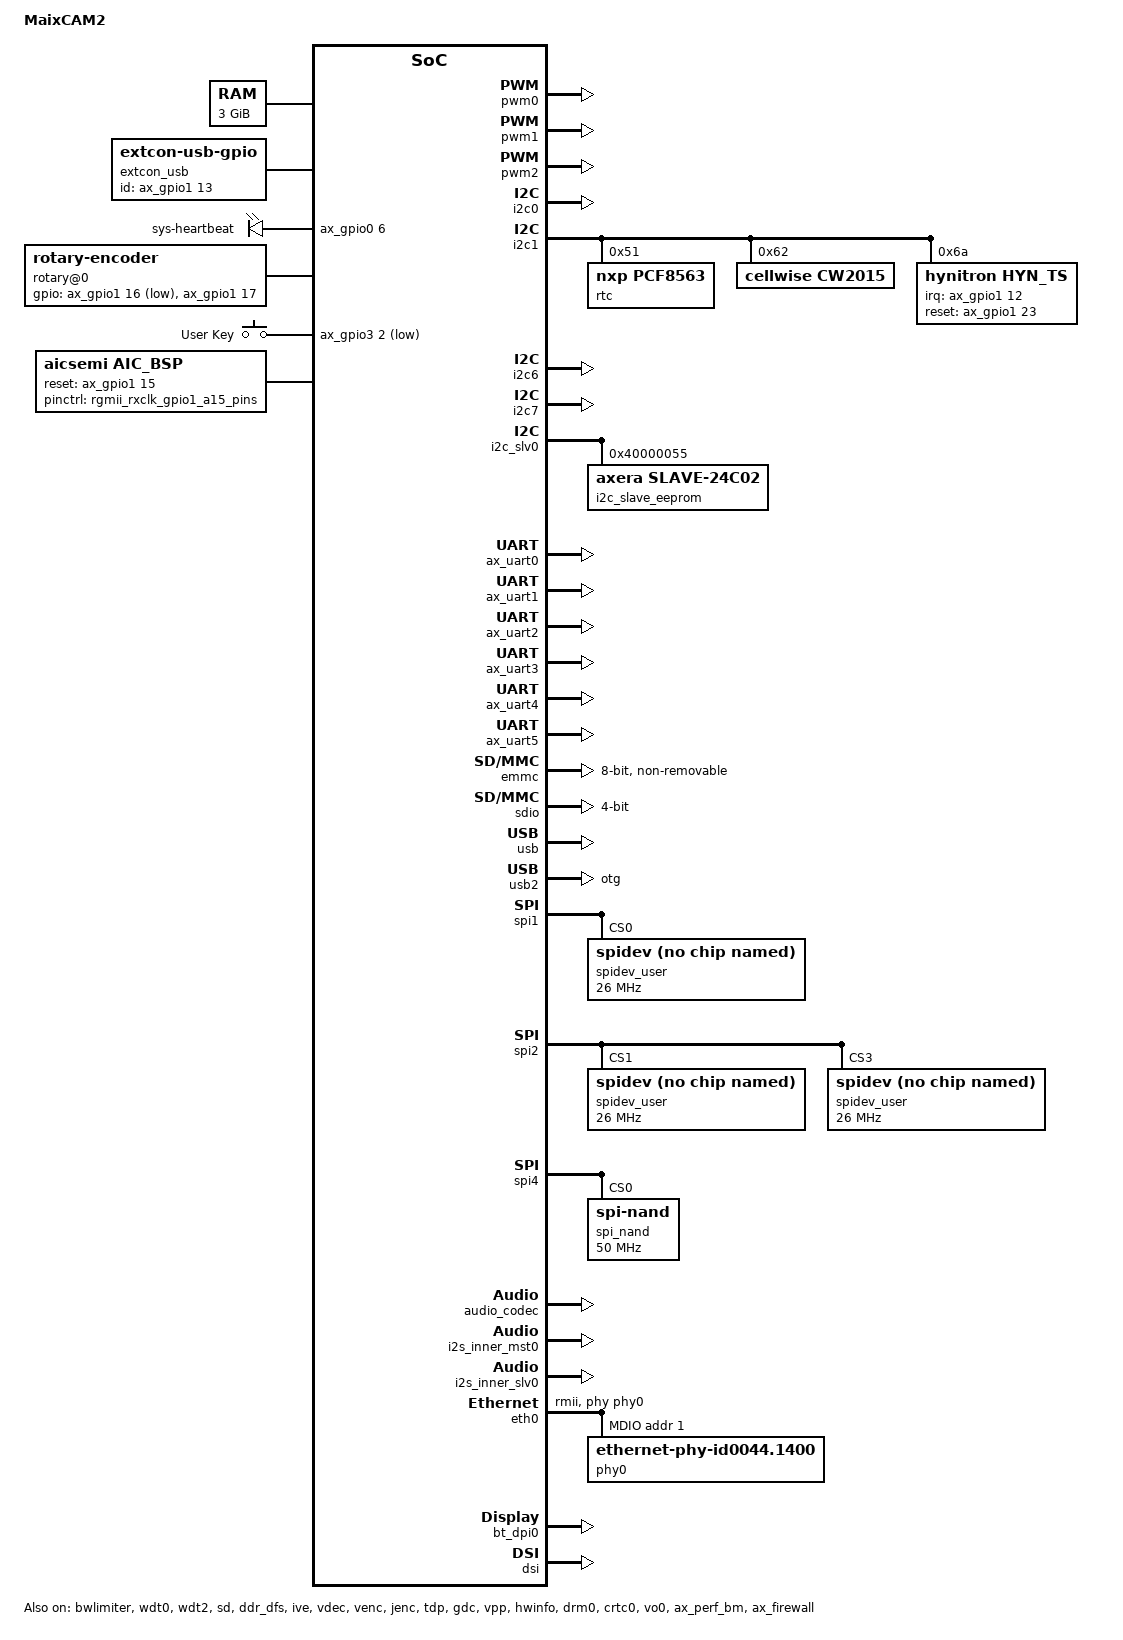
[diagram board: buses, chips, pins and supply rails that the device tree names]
// SPDX-License-Identifier: GPL-2.0
/**************************************************************************************************
 *
 * Copyright (c) 2019-2024 Axera Semiconductor Co., Ltd. All Rights Reserved.
 *
 * This dts file is the property of Axera Semiconductor Co., Ltd. and
 * may not be copied or distributed in any isomorphic form without the prior
 * written consent of Axera Semiconductor Co., Ltd.
 *
 **************************************************************************************************/

/dts-v1/;
#include "AX620E.dtsi"
/ {
	model = "MaixCAM2";
	memory@40000000 {
		device_type = "memory";
		reg = <0x0 0x40000000 0x0 0xC0000000>;
	};
	reserved-memory {
		#address-cells = <2>;
		#size-cells = <2>;
		ranges;
		ramoops_mem@48000000 {
			compatible = "ramoops";
			reg = <0x0 0x48000000 0x0 0xf0000>;
			record-size = <0x40000>;
			console-size = <0x80000>;
			ftrace-size = <0x20000>;
		};
		axera_memory_dump@0 {
			compatible = "axera_memory_dump";
			reg = <0x0 0x480f0000 0x0 0x3000>;
			dump_ranges = <0x0 0x40001000 0x1 0x00000000>;
			no-map;
		};
		atf_reserved: atf_memreserved {
			reg = <ATF_RESERVED_START_HI ATF_RESERVED_START_LO ATF_RESERVED_SIZE_HI ATF_RESERVED_SIZE_LO>;
			no-map;
		};
#ifdef OPTEE_BOOT
		optee_reserved: optee_memserved {
			reg = <OPTEE_RESERVED_START_HI OPTEE_RESERVED_START_LO OPTEE_RESERVED_SIZE_HI OPTEE_RESERVED_SIZE_LO>;
			no-map;
		};
#endif
		axera_ddr_retrain@0 {
			compatible = "axera_ddr_retrain";
			reg = <0x0 0x40000000 0x0 0x1000>;
		};
	};

	chosen {
		bootargs = BOOTARGS;
	};

	dummy_codec: dummy-codec {
		compatible = "dummy-codec";
		#sound-dai-cells = <0>;
	};

	sound {
		status = "okay";
		compatible = "simple-audio-card";
		simple-audio-card,name = "Axera Audio";
		simple-audio-card,widgets =
			"Microphone", "Mic Jack";
		simple-audio-card,routing =
			"AMIC", "Mic Jack";
		#address-cells = <1>;
		#size-cells = <0>;
	/*	simple-audio-card,dai-link@0 {
			format = "i2s";
			cpu {
				sound-dai = <&i2s_mst0>;
			};
			codec {
				sound-dai = <&es7243l>;
				system-clock-frequency = <12288000>;
			};
		};
		simple-audio-card,dai-link@1 {
			format = "i2s";
			cpu {
				sound-dai = <&i2s_mst0>;
			};
			codec {
				sound-dai = <&es8156>;
				system-clock-frequency = <12288000>;
			};
		};
		simple-audio-card,dai-link@0 {
			format = "i2s";
			bitclock-master = <&codec_m2>;
			frame-master = <&codec_m2>;
			cpu {
				sound-dai = <&i2s_slv0>;
			};
			codec_m2: codec {
				sound-dai = <&es7243l>;
				system-clock-frequency = <12288000>;
			};
		};
		simple-audio-card,dai-link@1 {
			format = "i2s";
			bitclock-master = <&codec_m3>;
			frame-master = <&codec_m3>;
			cpu {
				sound-dai = <&i2s_slv0>;
			};
			codec_m3: codec {
				sound-dai = <&es8156>;
				system-clock-frequency = <12288000>;
			};
		};
		simple-audio-card,dai-link@0 {
			format = "dsp_b";
			cpu {
				sound-dai = <&i2s_tdm_mst0>;
				dai-tdm-slot-num = <2>;
				dai-tdm-slot-width = <32>;
				dai-tdm-slot-rx-mask = <1 1>;
			};
			codec {
				sound-dai = <&es7243l>;
				system-clock-frequency = <12288000>;
			};
		};
		simple-audio-card,dai-link@0 {
			format = "dsp_b";
			bitclock-master = <&codec_m5>;
			frame-master = <&codec_m5>;
			cpu {
				sound-dai = <&i2s_tdm_slv0>;
				dai-tdm-slot-num = <2>;
				dai-tdm-slot-width = <32>;
				dai-tdm-slot-rx-mask = <1 1>;
			};
			codec_m5: codec {
				sound-dai = <&es7243l>;
				system-clock-frequency = <12288000>;
			};
		};*/
		simple-audio-card,dai-link@0 {
			format = "i2s";
			bitclock-master = <&codec_m6>;
			frame-master = <&codec_m6>;
			capture-only;
			cpu {
				sound-dai = <&i2s_inner_slv0>;
			};
			codec_m6: codec {
				sound-dai = <&audio_codec>;
				system-clock-frequency = <12288000>;
			};
		};
		simple-audio-card,dai-link@1 {
			format = "i2s";
			playback-only;
			cpu {
				sound-dai = <&i2s_inner_mst0>;
			};
			codec {
				sound-dai = <&audio_codec>;
				system-clock-frequency = <12288000>;
			};
		};
	};

	vfb0: vfb@0 {
		compatible = "axera,vfb";
		id = <0>;
		width = <480>;
		height = <640>;
		bpp = <32>;
		buf-num = <2>;
		status = "okay";
	};

	vfb1: vfb@1 {
		compatible = "axera,vfb";
		id = <1>;
		width = <1920>;
		height = <1080>;
		bpp = <32>;
		buf-num = <2>;
		status = "disable";
	};

	vfb2: vfb@2 {
		compatible = "axera,vfb";
		id = <2>;
		width = <64>;
		height = <64>;
		bpp = <32>;
		buf-num = <1>;
		cursor;
		status = "okay";
	};

	axera_logctl {
		compatible = "axera,logctl";
		config = "/etc/ax_syslog.conf";
		logstate = /bits/ 8 <1 1>;
		loglevel = /bits/ 8 <4 4>;
	};

	extcon_usb: extcon_usb {
		compatible = "linux,extcon-usb-gpio";
		id-gpio = <&ax_gpio1 13 0>; /* GPIO1_A13 */
		status = "okay";
	};
	leds {
		status = "okay";
		compatible = "gpio-leds";
		pinctrl-names = "default";
		pinctrl-0 = <&vi_d6_gpio0_a6_pins>;
        led-heartbeat {
            label = "sys-heartbeat";
            gpios = <&ax_gpio0 6 0>;
            linux,default-trigger = "activity";
            default-state = "activity";
			status = "okay";
        };
	};

	rotary@0 {
		status = "okay";
		compatible = "rotary-encoder";
		pinctrl-names = "default";
		pinctrl-0 = <&rgmii_rxd2_gpio1_a16_pins>,
					<&rgmii_rxd3_gpio1_a17_pins>;
		gpios = <&ax_gpio1 16 1>, <&ax_gpio1 17 0>;
		linux,axis = <0>; /* REL_X */
		rotary-encoder,encoding = "gray";
		rotary-encoder,relative-axis;
		rotary-encoder,steps-per-period = <4>;
	};

	gpio_keys {
		compatible = "gpio-keys";
		pinctrl-names = "default";
		pinctrl-0 = <&gpio3_a2_pins>;
		// autorepeat;
		wakeup-source;
		status = "okay";

		key-user {
			label = "User Key";
			linux,code = <0x1af>;
			debounce-interval = <10>;
			gpios = <&ax_gpio3 2 1>;
		};
	};
	aic_bsp {
		compatible = "aicsemi,aic_bsp";
		reset-gpio = <&ax_gpio1 15 0>; // GPIO1_A15
		pinctrl-names = "default";
		pinctrl-gpios = <&rgmii_rxclk_gpio1_a15_pins>;
		status = "okay";
	};
};

&pwm0 {
	status = "okay";
};

&pwm1 {
	status = "okay";
};

&pwm2 {
	status = "okay";
};

&deb_gpio_lp {
	lp-status = <11 1>; /* use db_gpio11 as wakeup source */
	status = "okay";
};

&bwlimiter {
	status = "okay";
};

&i2c0 {
	status = "okay";
};

&i2c1 {
	status = "okay";

	rtc: bm8563@51 {
		compatible = "nxp,pcf8563";  // BM8563 通常与 PCF8563 驱动兼容
		reg = <0x51>;               // I2C 地址（0x51）
		status = "okay";
	};

	cw2015@62 {
			compatible = "cellwise,cw2015";
			reg = <0x62>;
			cellwise,battery-profile = /bits/ 8 <
					0x15 0x39 0x5E 0x59 0x56 0x55 0x52 0x52
					0x51 0x54 0x51 0x47 0x3E 0x34 0x2B 0x26
					0x1E 0x16 0x13 0x1F 0x29 0x41 0x4F 0x4E
					0x71 0x9E 0x0A 0x3E 0x25 0x45 0x58 0x5F
					0x5A 0x62 0x68 0x6E 0x4A 0x1D 0x83 0x2E
					0x09 0x57 0x14 0x41 0x77 0x98 0xAC 0x3C
					0x4E 0x7B 0x99 0xAF 0x80 0xFF 0xFF 0xCB
					0x2F 0x00 0x64 0xA5 0xB5 0xC1 0x46 0xAE
					>;
			cellwise,monitor-interval-ms = <5000>;
			// monitored-battery = <&battery>;
			// power-supplies = <&charger>;
			status = "okay";
	};

	hynitron: hynitron@6a {
		compatible = "hynitron,hyn_ts", "hyn,7xx";
		reg = <0x6a>;
		irq-gpio = <&ax_gpio1 12 0>;
		reset-gpio = <&ax_gpio1 23 0>;
		max-touch-number = <5>;
		display-coords = <0 0 480 640>;
		pos-swap = <0>;
		posx-reverse = <1>;
		posy-reverse = <1>;
		status = "okay";
		wakeup-source;
	};

/*
	lsm6ds3@6b {
		compatible = "st,lsm6dsox";
		reg = <0x6b>;
		status = "okay";
	};
*/
};

&i2c6 {
	/delete-property/ pinctrl-names;
	/delete-property/ pinctrl-0;
	/delete-property/ pinctrl-1;
	/delete-property/ scl-gpio;
	/delete-property/ sda-gpio;
	status = "okay";
};

&i2c7 {
	status = "okay";
	/delete-property/ pinctrl-names;
	/delete-property/ pinctrl-0;
	/delete-property/ pinctrl-1;
	/delete-property/ scl-gpio;
	/delete-property/ sda-gpio;
	#address-cells = <0x1>;
	#size-cells = <0x0>;
};

&i2c_slv0 {
	status = "okay";
	#address-cells = <0x1>;
	#size-cells = <0x0>;
	i2c_slave_eeprom: i2c_slave_eeprom@55 {
		compatible = "axera,slave-24c02";
		reg = <0x40000055>;
		status = "okay";
	};
};

&ax_uart0 {
	status = "okay";
};

&ax_uart1 {
	status = "okay";
};

&ax_uart2 {
	status = "okay";
};

&ax_uart3 {
	status = "okay";
};

&ax_uart4 {
	status = "okay";
};

&ax_uart5 {
	pinctrl-names = "default";
	pinctrl-0 = <&emac_ptp_pps0_uart5_cts_pins>,
				<&emac_ptp_pps1_uart5_rts_pins>,
				<&emac_ptp_pps2_uart5_txd_pins>,
				<&emac_ptp_pps3_uart5_rxd_pins>;
	status = "okay";
};

&wdt0 {
	status = "okay";
};

&wdt2 {
	status = "okay";
};

&emmc{
	max-frequency = <200000000>;
	sdhci-caps-mask = <0x2 0x03200000>;
	bus-width = <8>;
	no-sdio;
	no-sd;
	non-removable;
	disable-wp;
	cap-mmc-hw-reset;
	/* AX630C use GPIO2_A23 */
	hw-reset = <&ax_gpio2 23 0>;
	/* AX620Q use GPIO1_A0 */
	/* hw-reset = <&ax_gpio1 0 0>; */
	cap-mmc-highspeed;
	mmc-hs200-1_8v;
	mmc-hs400-1_8v;
	mmc-hs400-enhanced-strobe;
	cdns,phy-input-delay-sd-highspeed = <2>;
	cdns,phy-input-delay-legacy = <4>;
	cdns,phy-input-delay-sd-uhs-sdr12 = <1>;
	cdns,phy-input-delay-sd-uhs-sdr25 = <2>;
	cdns,phy-input-delay-sd-uhs-sdr50 = <1>;
	cdns,phy-input-delay-sd-uhs-ddr50 = <2>;
	cdns,phy-input-delay-mmc-legacy = <1>;
	cdns,phy-input-delay-mmc-highspeed = <2>;
	cdns,phy-input-delay-mmc-ddr = <2>;
	cdns,phy-dll-delay-sdclk = <45>;
	cdns,phy-dll-delay-sdclk-hsmmc = <31>;
	cdns,phy-dll-delay-strobe = <18>;
	fixed-emmc-driver-type = <4>;
	status = "okay";
};

&sd{
	sdhci-caps-mask = <0x7 0x00200000>;
	bus-width = <4>;
	max-frequency = <200000000>;
	cap-sd-highspeed;
	sd-uhs-sdr12;
	sd-uhs-sdr25;
	sd-uhs-sdr50;
	sd-uhs-ddr50;
	sd-uhs-sdr104;
	no-sdio;
	no-mmc;
	disable-wp;
#if 1
	broken-cd;
#else
	cd-gpios = <&ax_gpio1 11 0>;
	cd-inverted;
	cd-debounce-delay-ms = <300>;
#endif

	cdns,phy-input-delay-sd-highspeed = <2>;
	cdns,phy-input-delay-legacy = <3>;
	cdns,phy-input-delay-sd-uhs-sdr12 = <3>;
	cdns,phy-input-delay-sd-uhs-sdr25 = <2>;
	cdns,phy-input-delay-sd-uhs-sdr50 = <1>;
	cdns,phy-input-delay-sd-uhs-ddr50 = <1>;
	cdns,phy-dll-delay-sdclk = <0>;

	status = "okay";
};

&sdio{
	sdhci-caps-mask = <0x7 0x00200000>;
	bus-width = <4>;
	max-frequency = <200000000>;
	cap-sd-highspeed;
	sd-uhs-sdr25;
	sd-uhs-sdr12;
	sd-uhs-sdr50;
	sd-uhs-ddr50;
	//sd-uhs-sdr104;
	no-1-8-v;
	no-sd;
	no-mmc;
	disable-wp;
	broken-cd;
	cdns,phy-input-delay-sd-highspeed = <4>;
	cdns,phy-input-delay-legacy = <3>;
	cdns,phy-input-delay-sd-uhs-sdr12 = <3>;
	cdns,phy-input-delay-sd-uhs-sdr25 = <2>;
	cdns,phy-input-delay-sd-uhs-sdr50 = <1>;
	cdns,phy-input-delay-sd-uhs-ddr50 = <1>;
	cdns,phy-dll-delay-sdclk = <0>;

	status = "okay";
};

&usb {
	status = "okay";
};

&usb2 {
	dr_mode = "otg";
	extcon = <&extcon_usb>;
};

&spi0 {
       status = "disabled";
       spidev_user@0 {
               status = "okay";
               compatible = "axera,spidev";
               reg = <0>;
               spi-max-frequency = <26000000>;
       };
};

&spi1 {
       status = "okay";
	   /delete-property/ cs-gpios;
       spidev_user@0 {
               status = "okay";
               compatible = "axera,spidev";
               reg = <0>;
               spi-max-frequency = <26000000>;
       };
};

&spi2 {
       status = "okay";
	   /delete-property/ cs-gpios;
       spidev_user@1 {
               status = "okay";
               compatible = "axera,spidev";
               reg = <1>;
               spi-max-frequency = <26000000>;
       };
	   spidev_user@3 {
				status = "okay";
				compatible = "axera,spidev";
				reg = <3>;
				spi-max-frequency = <26000000>;
		};
};

&spi_slv {
       status = "disabled";
       stream-tx-gpio = <&ax_gpio2 13 0>;
       stream-rx-gpio = <&ax_gpio2 14 0>;
};

&spi4 {
	status = "okay";
	spi_nand@0 {
		compatible = "spi-nand";
		reg = <0>;
		rx-sample-delay-ns = <4>;
		spi-max-frequency = <50000000>;
	};
	/*spi_flash@0 {
		#address-cells = <1>;
		#size-cells = <1>;
		compatible = "jedec,spi-nor";
		reg = <0>;
		spi-max-frequency = <50000000>;
	};*/
};

&audio_codec {
	gpio-mic-rp = <&ax_gpio1 7 0>; /* GPIO1_A7 */
	gpio-mic-rn = <&ax_gpio1 6 0>; /* GPIO1_A6 */
	gpio-mic-ln = <&ax_gpio1 5 0>; /* GPIO1_A5 */
	gpio-mic-lp = <&ax_gpio1 4 0>; /* GPIO1_A4 */
	gpio-pa-speaker = <&ax_gpio1 17 0>; /* GPIO1_A17 */
	status = "okay";
};

&i2s_inner_mst0 {
	status = "okay";
	/*i2s - pad0*/
	i2s-m-aec-cycle-sel = <0>;    /*23-22*/
	i2s-m-aec-sclk-sel = <0>;     /*21*/
	i2s-inner-codec-en = <1>;     /*20*/
	i2s-exter-codec-en = <0>;     /*19*/
	i2s-m-exter-codec-en = <0>;   /*18*/
	i2s-exter-codec-mst = <0>;    /*17*/
	i2s-m-exter-codec-mst = <0>;  /*16*/
	iis-out-tdm-en = <0>;         /*15*/
	iis-m-out-tdm-en = <0>;       /*14*/
	i2s-m-rx0-sel = <0>;          /*13*/
	i2s-m-rx1-sel = <0>;          /*12-11*/
	i2s-s-rx0-sel = <0>;          /*10-9*/
	i2s-s-rx1-sel = <2>;          /*8-7*/
	i2s-s-sclk-sel = <0>;         /*6-5*/
	tdm-m-rx-sel = <0>;           /*4-3*/
	tdm-s-rx-sel = <0>;           /*2-1*/
	tdm-s-sclk-sel = <0>;         /*0*/
};

&i2s_inner_slv0 {
	status = "okay";
	/*i2s - pad0*/
	i2s-m-aec-cycle-sel = <0>;    /*23-22*/
	i2s-m-aec-sclk-sel = <0>;     /*21*/
	i2s-inner-codec-en = <1>;     /*20*/
	i2s-exter-codec-en = <0>;     /*19*/
	i2s-m-exter-codec-en = <0>;   /*18*/
	i2s-exter-codec-mst = <0>;    /*17*/
	i2s-m-exter-codec-mst = <0>;  /*16*/
	iis-out-tdm-en = <0>;         /*15*/
	iis-m-out-tdm-en = <0>;       /*14*/
	i2s-m-rx0-sel = <0>;          /*13*/
	i2s-m-rx1-sel = <0>;          /*12-11*/
	i2s-s-rx0-sel = <0>;          /*10-9*/
	i2s-s-rx1-sel = <2>;          /*8-7*/
	i2s-s-sclk-sel = <0>;         /*6-5*/
	tdm-m-rx-sel = <0>;           /*4-3*/
	tdm-s-rx-sel = <0>;           /*2-1*/
	tdm-s-sclk-sel = <0>;         /*0*/
};

&i2s_mst0 {
	status = "disabled";
	/*i2s - pad0*/
	i2s-m-aec-cycle-sel = <0>;    /*23-22*/
	i2s-m-aec-sclk-sel = <0>;     /*21*/
	i2s-inner-codec-en = <0>;     /*20*/
	i2s-exter-codec-en = <1>;     /*19*/
	i2s-m-exter-codec-en = <0>;   /*18*/
	i2s-exter-codec-mst = <1>;    /*17*/
	i2s-m-exter-codec-mst = <0>;  /*16*/
	iis-out-tdm-en = <0>;         /*15*/
	iis-m-out-tdm-en = <0>;       /*14*/
	i2s-m-rx0-sel = <0>;          /*13*/
	i2s-m-rx1-sel = <2>;          /*12-11*/
	i2s-s-rx0-sel = <0>;          /*10-9*/
	i2s-s-rx1-sel = <0>;          /*8-7*/
	i2s-s-sclk-sel = <0>;         /*6-5*/
	tdm-m-rx-sel = <0>;           /*4-3*/
	tdm-s-rx-sel = <0>;           /*2-1*/
	tdm-s-sclk-sel = <0>;         /*0*/
};

&i2s_slv0 {
	status = "disabled";
	/*i2s - pad0*/
	i2s-m-aec-cycle-sel = <0>;    /*23-22*/
	i2s-m-aec-sclk-sel = <0>;     /*21*/
	i2s-inner-codec-en = <0>;     /*20*/
	i2s-exter-codec-en = <1>;     /*19*/
	i2s-m-exter-codec-en = <0>;   /*18*/
	i2s-exter-codec-mst = <0>;    /*17*/
	i2s-m-exter-codec-mst = <0>;  /*16*/
	iis-out-tdm-en = <0>;         /*15*/
	iis-m-out-tdm-en = <0>;       /*14*/
	i2s-m-rx0-sel = <0>;          /*13*/
	i2s-m-rx1-sel = <0>;          /*12-11*/
	i2s-s-rx0-sel = <3>;          /*10-9*/
	i2s-s-rx1-sel = <0>;          /*8-7*/
	i2s-s-sclk-sel = <1>;         /*6-5*/
	tdm-m-rx-sel = <0>;           /*4-3*/
	tdm-s-rx-sel = <0>;           /*2-1*/
	tdm-s-sclk-sel = <0>;         /*0*/
};

&i2s_tdm_mst0 {
	status = "disabled";
	/*i2s - pad0*/
	i2s-m-aec-cycle-sel = <0>;    /*23-22*/
	i2s-m-aec-sclk-sel = <0>;     /*21*/
	i2s-inner-codec-en = <0>;     /*20*/
	i2s-exter-codec-en = <1>;     /*19*/
	i2s-m-exter-codec-en = <0>;   /*18*/
	i2s-exter-codec-mst = <1>;    /*17*/
	i2s-m-exter-codec-mst = <0>;  /*16*/
	iis-out-tdm-en = <1>;         /*15*/
	iis-m-out-tdm-en = <0>;       /*14*/
	i2s-m-rx0-sel = <0>;          /*13*/
	i2s-m-rx1-sel = <0>;          /*12-11*/
	i2s-s-rx0-sel = <0>;          /*10-9*/
	i2s-s-rx1-sel = <0>;          /*8-7*/
	i2s-s-sclk-sel = <0>;         /*6-5*/
	tdm-m-rx-sel = <0>;           /*4-3*/
	tdm-s-rx-sel = <0>;           /*2-1*/
	tdm-s-sclk-sel = <0>;         /*0*/
};

&i2s_tdm_slv0 {
	status = "disabled";
	/*i2s - pad0*/
	i2s-m-aec-cycle-sel = <0>;    /*23-22*/
	i2s-m-aec-sclk-sel = <0>;     /*21*/
	i2s-inner-codec-en = <0>;     /*20*/
	i2s-exter-codec-en = <1>;     /*19*/
	i2s-m-exter-codec-en = <0>;   /*18*/
	i2s-exter-codec-mst = <0>;    /*17*/
	i2s-m-exter-codec-mst = <0>;  /*16*/
	iis-out-tdm-en = <0>;         /*15*/
	iis-m-out-tdm-en = <0>;       /*14*/
	i2s-m-rx0-sel = <0>;          /*13*/
	i2s-m-rx1-sel = <0>;          /*12-11*/
	i2s-s-rx0-sel = <0>;          /*10-9*/
	i2s-s-rx1-sel = <0>;          /*8-7*/
	i2s-s-sclk-sel = <0>;         /*6-5*/
	tdm-m-rx-sel = <0>;           /*4-3*/
	tdm-s-rx-sel = <0>;           /*2-1*/
	tdm-s-sclk-sel = <0>;         /*0*/
};

#if 0
&eth0 {
	status = "okay";

	phy-handle = <&phy0>;
	phy-mode = "rgmii";
	phy-rst-gpio = <&ax_gpio1 27 0>; /* GPIO1_A27 */

	mdio {
		#address-cells = <1>;
		#size-cells = <0>;
		compatible = "snps,dwmac-mdio";
		phy0: jl2xxx-phy@1 {
			compatible = "ethernet-phy-id937c.4030";
			jl2xxx,led-enable = <JL2XXX_LED_CTRL_EN>;
			jl2xxx,led-mode = <JL2XXX_CFG_LED_MODE>;
			jl2xxx,led-period = <JL2XXX_GLOBAL_PERIOD_MS>;
			jl2xxx,led-on = <JL2XXX_GLOBAL_ON_MS>;
			jl2xxx,led-polarity = <JL2XXX_LED_POLARITY>;
			jl2xxx,patch-enable = <JL2XXX_PATCH_CTRL_EN>;
			jl2xxx,rgmii-enable = <JL2XXX_RGMII_CTRL_EN>;
			jl2xxx,rgmii-tx-delay = <JL2XXX_RGMII_TX_DLY_2NS>;
			jl2xxx,rgmii-rx-delay = <JL2XXX_RGMII_RX_DLY_2NS>;
			jl2xxx,clk-enable = <JL2XXX_CLK_CTRL_EN>;
			jl2xxx,fld-enable = <JL2XXX_FLD_CTRL_EN>;
			jl2xxx,fld-delay = <JL2XXX_FLD_DELAY>;
			jl2xxx,wol-enable = <JL2XXX_WOL_CTRL_EN>;
			jl2xxx,interrupt-enable = <JL2XXX_INTR_CTRL_EN>;
			jl2xxx,downshift-enable = <JL2XXX_DSFT_CTRL_EN>;
			jl2xxx,downshift-count = <JL2XXX_DSFT_AN_CNT>;
			jl2xxx,work_mode-enable = <JL2XXX_WORK_MODE_CTRL_EN>;
			jl2xxx,work_mode-mode = <JL2XXX_WOEK_MODE_MODE>;
			jl2xxx,lpbk-enable = <JL2XXX_LPBK_CTRL_EN>;
			jl2xxx,lpbk-mode = <JL2XXX_LPBK_MODE>;
			jl2xxx,slew_rate-enable = <JL2XXX_SLEW_RATE_CTRL_EN>;
			jl2xxx,rxc_out-enable = <JL2XXX_RXC_OUT_CTRL_EN>;
			reg = <1>;
		};
	};
};
#else
&eth0 {
	status = "okay";

	phy-handle = <&phy0>;
	phy-mode = "rmii";
	axera-ephy,led0-mode = <EPHY_LED_SPEED>;
	axera-ephy,led0-enable;
	axera-ephy,led1-mode = <EPHY_LED_LINK>;
	axera-ephy,led1-enable;
	axera-ephy,led-polarity = <EPHY_LED_LOW_ACTIVE>;
	mdio {
		#address-cells = <1>;
		#size-cells = <0>;
		compatible = "snps,dwmac-mdio";
		phy0: axera-ephy@1 {
			device_tpye = "ethernet-phy";
			compatible = "ethernet-phy-id0044.1400";
			reg = <1>;
		};
	};
};
#endif

&ddr_dfs {
       status = "okay";
};

&ive {
	status = "okay";
};

&vdec {
	status = "okay";
};

&venc {
	status = "okay";
};

&jenc {
	status = "okay";
};

&tdp {
	status = "okay";
};

&gdc {
	status = "okay";
};

&vpp {
	status = "okay";
};

&axera_rtc_pwr {
        status = "disabled";
};

&hwinfo {
	status = "okay";
};

&drm0 {
	status = "okay";
};

&drm1 {
	status = "disable";
};

&crtc0 {
	status = "okay";
};

&crtc1 {
	status = "disable";
};

&vo0 {
	status = "okay";
};

&vo1 {
	status = "disable";
};

&bt_dpi0 {
	status = "okay";
};

&bt_dpi1 {
	status = "disable";
};

&dsi {
	status = "okay";
};

&dma {
	status = "okay";
};

&dma_per {
	status = "okay";
};

&dmac {
	status = "okay";
};

&ax_perf_bm {
	status = "okay";
};

&ax_firewall {
	status = "okay";
};

&panel_dsi {
	status = "okay";
	prepare-delay-ms = <0>;
	unprepare-delay-ms = <0>;
	enable-delay-ms = <0>;
	disable-delay-ms = <150>;
	reset-gpio = <&ax_gpio0 23 0>;
	pinctrl-names = "default";
	pinctrl-0 = <&sd_pwr_en_gpio0_a23_pins>;

	dsi,format = <MIPI_DSI_FMT_RGB888>;
	dsi,lanes = <2>;
	dsi,flags = <(MIPI_DSI_MODE_VIDEO_SYNC_PULSE | MIPI_DSI_MODE_VIDEO | MIPI_DSI_MODE_LPM |MIPI_DSI_CLOCK_NON_CONTINUOUS )>;
	panel-init-seq = [39 3c 06 ff 77 01 00 00 13
			15 00 02 ef 08
			39 00 06 ff 77 01 00 00 10
			39 00 03 c0 4f 00
			39 00 03 c1 10 0c
			39 00 03 c2 01 14
			15 00 02 cc 10
			39 00 11 b0 00 0b 13 0d 10 07 02 08 07 1f 04 11 0f 28 2f 1f
			39 00 11 b1 00 0c 13 0c 10 05 02 08 08 1e 05 13 11 27 30 1f
			39 00 06 ff 77 01 00 00 11
			15 00 02 b0 4d
			15 00 02 b1 6a
			15 00 02 b2 87
			15 00 02 b3 80
			15 00 02 b5 45
			15 00 02 b7 85
			15 00 02 b8 20
			15 00 02 c1 78
			15 00 02 c2 78
			15 64 02 d0 88
			39 00 04 e0 00 00 02
			39 00 0c e1 04 b0 06 b0 05 b0 07 b0 00 44 44
			39 00 0d e2 20 20 44 44 96 a0 00 00 96 a0 00 00
			39 00 05 e3 00 00 22 22
			39 00 03 e4 44 44
			39 00 11 e5 0c 90 b0 a0 0e 92 b0 a0 08 8c b0 a0 0a 8e b0 a0
			39 00 05 e6 00 00 22 22
			39 00 03 e7 44 44
			39 00 11 e8 0d 91 b0 a0 0f 93 b0 a0 09 8d b0 a0 0b 8f b0 a0
			39 00 03 e9 36 00
			39 00 08 eb 00 00 e4 e4 44 88 40
			39 00 11 ed f1 b2 ac 0f 67 45 ff ff ff ff 54 76 f0 ca 2b 1f
			39 00 07 ef 10 0d 04 08 3f 1f
			39 00 06 ff 77 01 00 00 13
			39 00 03 e8 00 0e
			39 00 06 ff 77 01 00 00 00
			05 78 01 11
			39 00 06 ff 77 01 00 00 13
			39 0A 04 11 e8 00 0c
			39 00 03 e8 00 00
			39 00 06 ff 77 01 00 00 00
			15 00 02 36 10
			05 14 01 29];
	panel-exit-seq = [05 00 01 10];
	dsi-panel_esd_check_enable = /bits/ 8 <0>;
	dsi-panel-check-mode = /bits/ 8 <0>;
	dsi-panel-read-reg = /bits/ 8 <0x0A>;
	dsi-panel-read-length = /bits/ 8 <1>;
	dsi-panel-max-error-count = /bits/ 8 <3>;
	dsi-panel-status-value = /bits/ 8 <0x9D>;
	dsi-panel-check-interval-ms = <2000>;
};

&panel0 {
	status = "disable";
};

&panel1 {
	status = "disable";
};

&lvdstx {
	status = "disable";
};

&panel_lvds {
	status = "disable";
	data-mapping = "vesa-24";
};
